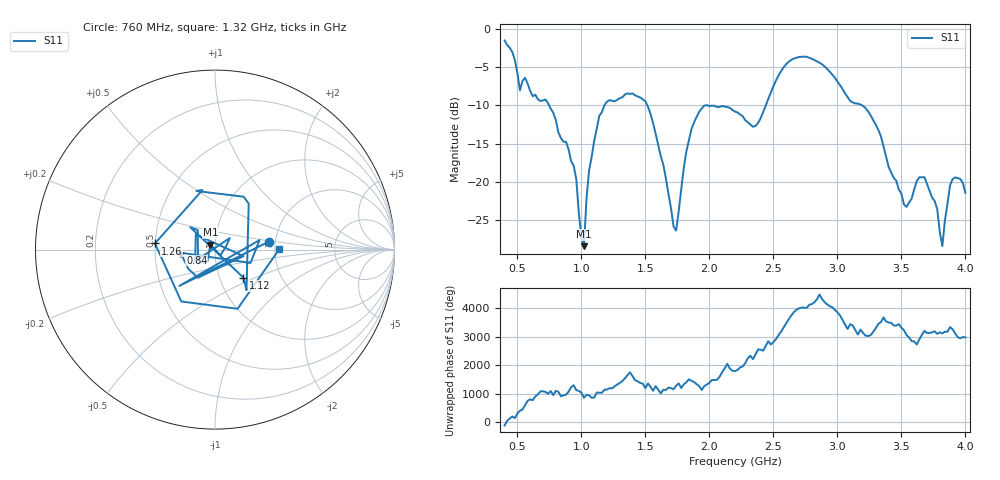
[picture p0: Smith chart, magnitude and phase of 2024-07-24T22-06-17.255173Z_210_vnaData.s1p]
!Created with skrf (http://scikit-rf.org).
# Hz S RI R 50.0
!freq ReS11 ImS11
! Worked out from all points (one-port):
!   181 points, 400 MHz to 4 GHz, reference 50 ohm
!   lowest |S11| = -28.4 dB at 1.02 GHz (marker M1), VSWR 1.08, Z = 47.4 + j2.69 ohm
!   |S11| at or under -10 dB: 1.515 GHz to 1.966 GHz (450.3 MHz wide, 25.9 % of centre); 1.987 GHz to 2.44 GHz (453.2 MHz wide, 20.5 % of centre); 3.194 GHz to end of sweep (the widest 3 of 4)
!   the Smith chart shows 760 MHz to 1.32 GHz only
!   S11 on the Smith chart (normalised r, x): 760 MHz: 1.84, +0.18; 840 MHz: 0.68, -0.02; 1.12 GHz: 1.30, -0.43; 1.26 GHz: 0.50, +0.04; 1.32 GHz: 2.11, +0.01
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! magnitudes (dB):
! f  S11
! 400 MHz  -1.5
! 520 MHz  -8.0
! 760 MHz  -10.4
! 840 MHz  -14.3
! 860 MHz  -14.7
! 940 MHz  -17.9
! 1.02 GHz  -28.4
! 1.06 GHz  -18.5
! 1.12 GHz  -13.0
! 1.26 GHz  -9.5
! 1.3 GHz  -9.0
! 1.32 GHz  -8.9
! 1.5 GHz  -9.5
! 1.72 GHz  -25.8
! 1.76 GHz  -23.8
! 1.82 GHz  -16.0
! 1.92 GHz  -10.8
! 2.2 GHz  -10.8
! 2.36 GHz  -12.7
! 2.66 GHz  -3.9
! 3.1 GHz  -9.4
! 3.26 GHz  -11.3
! 3.56 GHz  -22.7
! 3.68 GHz  -19.4
! 3.78 GHz  -23.5
! 3.82 GHz  -28.4
! 3.9 GHz  -19.6
! 4 GHz  -21.4
